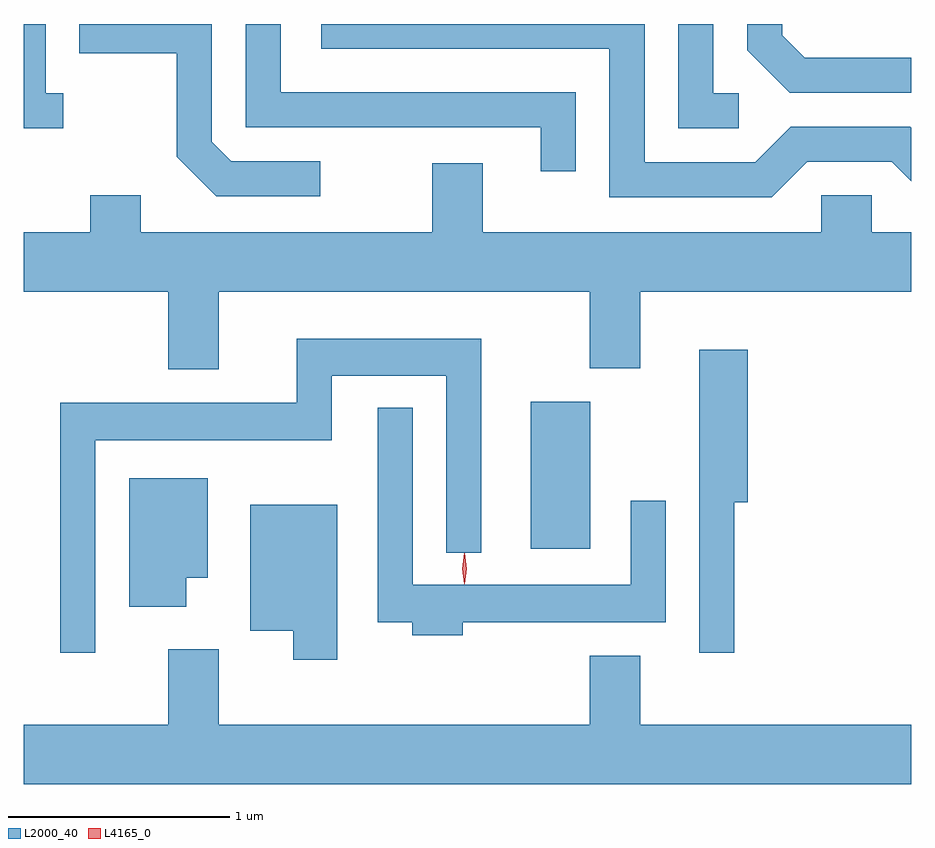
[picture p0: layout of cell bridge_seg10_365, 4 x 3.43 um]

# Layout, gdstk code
import gdstk
lib = gdstk.Library(unit=1e-6, precision=1e-09)
def R(c, l, rs):  # rectangles x0, y0, x1, y1
    for r in rs: c.add(gdstk.rectangle(r[:2], r[2:], *l))
def P(c, l, *ps):  # polygons
    for p in ps: c.add(gdstk.Polygon(p, *l))
L2000_40 = (2000, 40)
L4165_0 = (4165, 0)

bridge_seg10_365 = lib.new_cell('bridge_seg10_365')
R(bridge_seg10_365, L2000_40, [(1064.406,2126.076,1064.674,2126.739), (1065.761,2128.441,1065.999,2128.442)])
P(bridge_seg10_365, L2000_40, [(1064.609,2128.134),(1063.279,2128.134),(1063.279,2128.442),(1063.121,2128.442),(1063.121,2127.976),(1064.451,2127.976),(1064.451,2127.778),(1064.609,2127.778)],
  [(1065.343,2128.129),(1065.229,2128.129),(1065.229,2128.442),(1065.071,2128.442),(1065.071,2127.971),(1065.343,2127.971)],
  [(1062.298,2128.129),(1062.219,2128.129),(1062.219,2128.442),(1062.121,2128.442),(1062.121,2127.971),(1062.298,2127.971)],
  [(1065.652,2127.821),(1066.034,2127.821),(1066.121,2127.734),(1066.121,2127.975),(1066.117,2127.979),(1065.579,2127.979),(1065.419,2127.819),(1064.919,2127.819),(1064.919,2128.442),(1063.461,2128.442),(1063.461,2128.331),(1064.761,2128.331),(1064.761,2127.661),(1065.492,2127.661)],
  [(1066.121,2128.289),(1065.642,2128.289),(1065.539,2128.392),(1065.539,2128.442),(1065.381,2128.442),(1065.381,2128.324),(1065.574,2128.131),(1066.121,2128.131)],
  [(1063.458,2127.824),(1063.057,2127.824),(1062.969,2127.912),(1062.969,2128.442),(1062.371,2128.442),(1062.371,2128.311),(1062.811,2128.311),(1062.811,2127.844),(1062.989,2127.666),(1063.458,2127.666)],
  [(1062.999,2127.236),(1064.671,2127.236),(1064.671,2126.891),(1064.899,2126.891),(1064.899,2127.236),(1066.121,2127.236),(1066.121,2127.504),(1065.944,2127.504),(1065.944,2127.669),(1065.716,2127.669),(1065.716,2127.504),(1064.189,2127.504),(1064.189,2127.814),(1063.961,2127.814),(1063.961,2127.504),(1062.649,2127.504),(1062.649,2127.669),(1062.421,2127.669),(1062.421,2127.504),(1062.121,2127.504),(1062.121,2127.236),(1062.771,2127.236),(1062.771,2126.886),(1062.999,2126.886)],
  [(1062.444,2126.566),(1063.509,2126.566),(1063.509,2126.856),(1064.026,2126.856),(1064.026,2126.058),(1064.184,2126.058),(1064.184,2127.024),(1063.351,2127.024),(1063.351,2126.734),(1062.286,2126.734),(1062.286,2125.608),(1062.444,2125.608)],
  [(1065.324,2126.286),(1065.384,2126.286),(1065.384,2126.974),(1065.166,2126.974),(1065.166,2125.608),(1065.324,2125.608)],
  [(1064.099,2125.746),(1065.014,2125.746),(1065.014,2126.293),(1064.856,2126.293),(1064.856,2125.914),(1063.874,2125.914),(1063.874,2126.713),(1063.716,2126.713),(1063.716,2125.746),(1063.871,2125.746),(1063.871,2125.686),(1064.099,2125.686)],
  [(1062.854,2125.946),(1062.949,2125.946),(1062.949,2126.394),(1062.596,2126.394),(1062.596,2125.816),(1062.854,2125.816)],
  [(1063.534,2126.274),(1063.141,2126.274),(1063.141,2125.706),(1063.336,2125.706),(1063.336,2125.576),(1063.534,2125.576)],
  [(1066.121,2125.284),(1064.899,2125.284),(1064.899,2125.594),(1064.671,2125.594),(1064.671,2125.284),(1062.999,2125.284),(1062.999,2125.624),(1062.771,2125.624),(1062.771,2125.284),(1062.121,2125.284),(1062.121,2125.016),(1066.121,2125.016)])
P(bridge_seg10_365, L4165_0, [(1064.107,2125.917),(1064.106,2125.918),(1064.097,2125.987),(1064.106,2126.056),(1064.107,2126.056),(1064.108,2126.056),(1064.117,2125.987),(1064.108,2125.918)],
  [(1064.107,2125.919),(1064.106,2125.92),(1064.097,2125.986),(1064.106,2126.053),(1064.107,2126.053),(1064.108,2126.053),(1064.117,2125.986),(1064.108,2125.92)])

lib.write_gds('bridge_seg10_365.gds')
